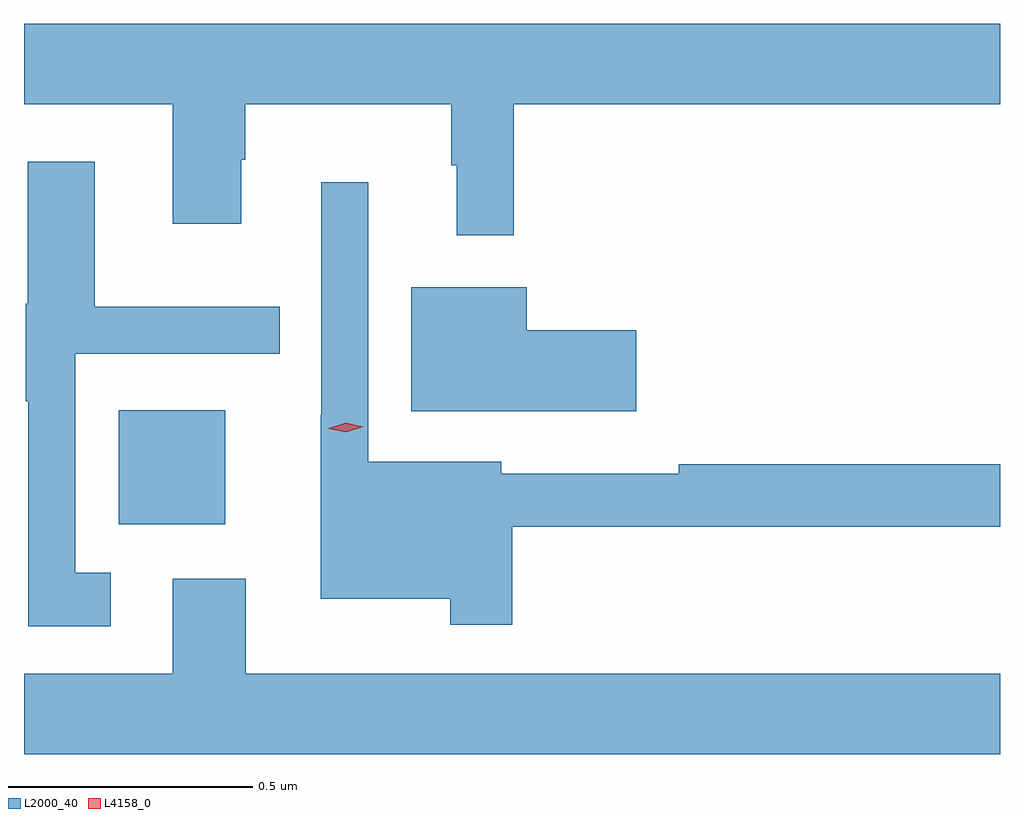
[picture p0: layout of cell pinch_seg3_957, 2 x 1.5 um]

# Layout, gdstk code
import gdstk
lib = gdstk.Library(unit=1e-6, precision=1e-09)
def R(c, l, rs):  # rectangles x0, y0, x1, y1
    for r in rs: c.add(gdstk.rectangle(r[:2], r[2:], *l))
def P(c, l, *ps):  # polygons
    for p in ps: c.add(gdstk.Polygon(p, *l))
L2000_40 = (2000, 40)
L4158_0 = (4158, 0)

pinch_seg3_957 = lib.new_cell('pinch_seg3_957')
R(pinch_seg3_957, L2000_40, [(549.824,714.707,550.042,714.94)])
P(pinch_seg3_957, L2000_40, [(550.634,715.568),(551.63,715.568),(551.63,715.732),(549.63,715.732),(549.63,715.568),(549.935,715.568),(549.935,715.323),(550.075,715.323),(550.075,715.454),(550.083,715.454),(550.083,715.568),(550.506,715.568),(550.506,715.442),(550.517,715.442),(550.517,715.299),(550.634,715.299)],
  [(549.808,714.607),(549.735,714.607),(549.735,715.056),(550.154,715.056),(550.154,715.153),(549.775,715.153),(549.775,715.45),(549.638,715.45),(549.638,715.159),(549.634,715.159),(549.634,714.959),(549.639,714.959),(549.639,714.498),(549.808,714.498)],
  [(550.631,714.702),(551.63,714.702),(551.63,714.83),(550.972,714.83),(550.972,714.81),(550.608,714.81),(550.608,714.835),(550.335,714.835),(550.335,715.408),(550.239,715.408),(550.239,714.931),(550.238,714.931),(550.238,714.554),(550.503,714.554),(550.503,714.501),(550.631,714.501)],
  [(550.885,715.104),(550.66,715.104),(550.66,715.192),(550.424,715.192),(550.424,714.938),(550.885,714.938)],
  [(551.63,714.4),(550.084,714.4),(550.084,714.595),(549.935,714.595),(549.935,714.4),(549.63,714.4),(549.63,714.236),(551.63,714.236)])
P(pinch_seg3_957, L4158_0, [(550.29,714.895),(550.254,714.903),(550.253,714.903),(550.254,714.904),(550.289,714.915),(550.325,714.907),(550.325,714.907),(550.325,714.907)])

lib.write_gds('pinch_seg3_957.gds')
